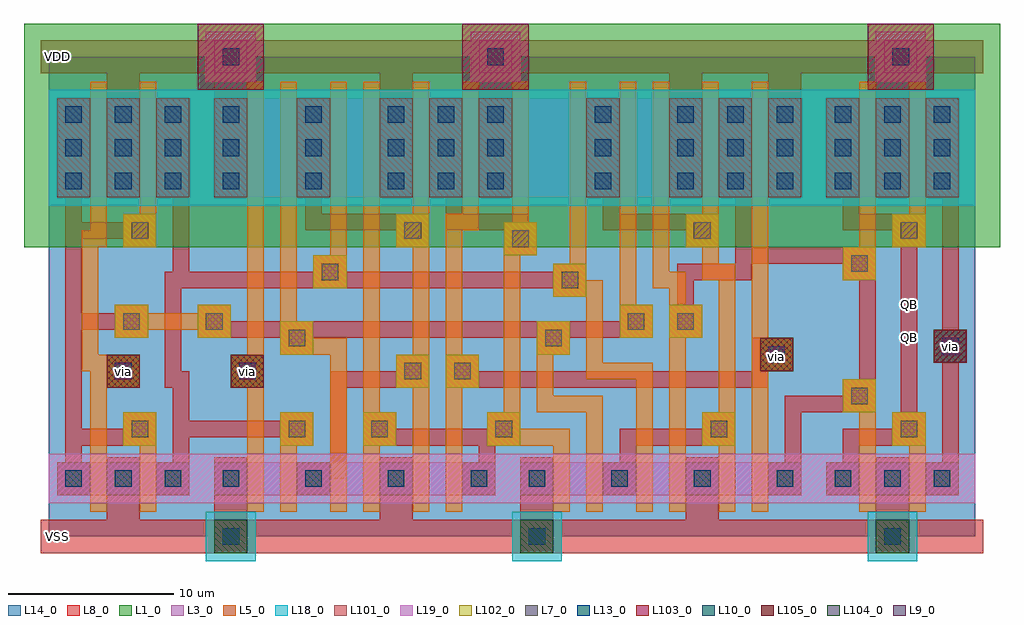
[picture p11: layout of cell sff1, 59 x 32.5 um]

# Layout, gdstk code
import gdstk
lib = gdstk.Library(unit=1e-6, precision=1e-09)
def R(c, l, rs):  # rectangles x0, y0, x1, y1
    for r in rs: c.add(gdstk.rectangle(r[:2], r[2:], *l))
L1_0 = (1, 0)
L3_0 = (3, 0)
L5_0 = (5, 0)
L7_0 = (7, 0)
L8_0 = (8, 0)
L9_0 = (9, 0)
L10_0 = (10, 0)
L13_0 = (13, 0)
L14_0 = (14, 0)
L18_0 = (18, 0)
L19_0 = (19, 0)
L101_0 = (101, 0)
L102_0 = (102, 0)
L103_0 = (103, 0)
L104_0 = (104, 0)
L105_0 = (105, 0)

dcont = lib.new_cell('dcont')
R(dcont, L3_0, [(-1,-1,1,1)])
R(dcont, L7_0, [(-0.5,-0.5,0.5,0.5)])
R(dcont, L8_0, [(-1,-1,1,1)])
R(dcont, L13_0, [(-0.5,-0.5,0.5,0.5)])
R(dcont, L101_0, [(-1,-1,1,1)])
dcont.add(gdstk.Label('dcont', (0,0), layer=13, texttype=0))

pcont = lib.new_cell('pcont')
R(pcont, L5_0, [(-1,-1,1,1)])
R(pcont, L7_0, [(-0.5,-0.5,0.5,0.5)])
R(pcont, L8_0, [(-1,-1,1,1)])
R(pcont, L102_0, [(-1,-1,1,1)])
pcont.add(gdstk.Label('pcont', (0,0), layer=13, texttype=0))

nsubcont = lib.new_cell('nsubcont')
R(nsubcont, L1_0, [(-2,-2,2,2)])
R(nsubcont, L19_0, [(-1.5,-1.5,1.5,1.5)])
R(nsubcont, L103_0, [(-2,-2,2,2)])
nsubcont.add(gdstk.Reference(dcont, (0,0)))
nsubcont.add(gdstk.Label('NScont', (0,0), layer=13, texttype=0))

psubcont = lib.new_cell('psubcont')
R(psubcont, L18_0, [(-1.5,-1.5,1.5,1.5)])
R(psubcont, L104_0, [(-1,-1,1,1)])
psubcont.add(gdstk.Reference(dcont, (0,0)))
psubcont.add(gdstk.Label('PScon', (0,0), layer=13, texttype=0))

via = lib.new_cell('Via')
R(via, L8_0, [(-1,-1,1,1)])
R(via, L9_0, [(-0.5,-0.5,0.5,0.5)])
R(via, L10_0, [(-1,-1,1,1)])
R(via, L13_0, [(-0.5,-0.5,0.5,0.5)])
R(via, L105_0, [(-1,-1,1,1)])
via.add(gdstk.Label('via', (0,0), layer=13, texttype=0))

sff1 = lib.new_cell('sff1')
R(sff1, L1_0, [(-1.5,17.5,57.5,31)])
R(sff1, L3_0, [(0.5,2.5,8.5,4.5), (10,2.5,27,4.5), (28.5,2.5,45.5,4.5), (47,2.5,55,4.5), (0.5,20.5,8.5,26.5), (10,20.5,45.5,26.5), (47,20.5,55,26.5)])
R(sff1, L8_0, [(-0.5,-1,56.5,1), (3.5,9,5.5,11), (11,9,13,11), (43,10,45,12), (53.5,10.5,55.5,12.5), (6.9,20.9,8.1,26.1), (-0.5,28,56.5,30)])
R(sff1, L10_0, [(3.5,9,5.5,11), (11,9,13,11), (43,10,45,12), (53.5,10.5,55.5,12.5)])
R(sff1, L14_0, [(0,0,56,29)])
R(sff1, L18_0, [(0,20,56,27)])
R(sff1, L19_0, [(0,2,56,5)])
R(sff1, L105_0, [(3.5,9,5.5,11), (11,9,13,11), (43,10,45,12), (53.5,10.5,55.5,12.5)])
sff1.add(gdstk.FlexPath([(24.5,19),(24.5,21.5)], 1, ends="extended", simple_path=True, layer=8, datatype=0))  # L8_0
sff1.add(gdstk.FlexPath([(31.8,15.5),(7.8,15.5)], 1, ends="extended", simple_path=True, layer=8, datatype=0))  # L8_0
sff1.add(gdstk.FlexPath([(44,10.8),(44,9.3),(25.3,9.3)], 0, ends="flush", simple_path=True, layer=8, datatype=0))  # L8_0
sff1.add(gdstk.FlexPath([(44,10.8),(44,9.3),(25.3,9.3)], 0, ends="flush", simple_path=True, layer=8, datatype=0))  # L8_0
sff1.add(gdstk.FlexPath([(1.5,26),(1.5,3.6)], 1, ends="extended", simple_path=True, layer=8, datatype=0))  # L8_0
sff1.add(gdstk.FlexPath([(1.5,22.3),(1.5,25.5)], 1.4, ends="extended", simple_path=True, layer=8, datatype=0))  # L8_0
sff1.add(gdstk.FlexPath([(5.4,13),(1.5,13)], 1, ends="extended", simple_path=True, layer=8, datatype=0))  # L8_0
sff1.add(gdstk.FlexPath([(5.8,6),(1.5,6)], 1, ends="extended", simple_path=True, layer=8, datatype=0))  # L8_0
sff1.add(gdstk.FlexPath([(5.6,18.5),(1.5,18.5)], 1, ends="extended", simple_path=True, layer=8, datatype=0))  # L8_0
sff1.add(gdstk.FlexPath([(4.5,22.6),(4.5,28.5)], 2, ends="extended", simple_path=True, layer=8, datatype=0))  # L8_0
sff1.add(gdstk.FlexPath([(4.5,1),(4.5,3.8)], 2, ends="extended", simple_path=True, layer=8, datatype=0))  # L8_0
sff1.add(gdstk.FlexPath([(8,3.6),(8,9.5),(7.5,9.5),(7.5,15.5),(8,15.5),(8,26)], 1, ends="extended", simple_path=True, layer=8, datatype=0))  # L8_0
sff1.add(gdstk.FlexPath([(11,1),(11,3.8)], 2, ends="extended", simple_path=True, layer=8, datatype=0))  # L8_0
sff1.add(gdstk.FlexPath([(11,22.6),(11,28.5)], 2, ends="extended", simple_path=True, layer=8, datatype=0))  # L8_0
sff1.add(gdstk.FlexPath([(14.8,6.5),(8.3,6.5)], 1, ends="extended", simple_path=True, layer=8, datatype=0))  # L8_0
sff1.add(gdstk.FlexPath([(16,22.3),(16,25.5)], 1.4, ends="extended", simple_path=True, layer=8, datatype=0))  # L8_0
sff1.add(gdstk.FlexPath([(16,22.3),(16,19),(22,19)], 1, ends="extended", simple_path=True, layer=8, datatype=0))  # L8_0
sff1.add(gdstk.FlexPath([(16,3.8),(16,4),(17.5,4),(17.5,9.5),(22.1,9.5)], 1, ends="extended", simple_path=True, layer=8, datatype=0))  # L8_0
sff1.add(gdstk.FlexPath([(21,22.6),(21,28.5)], 2, ends="extended", simple_path=True, layer=8, datatype=0))  # L8_0
sff1.add(gdstk.FlexPath([(21,1),(21,3.8)], 2, ends="extended", simple_path=True, layer=8, datatype=0))  # L8_0
sff1.add(gdstk.FlexPath([(35.4,12.5),(10.3,12.5)], 1, ends="extended", simple_path=True, layer=8, datatype=0))  # L8_0
sff1.add(gdstk.FlexPath([(27.3,6),(20.3,6)], 1, ends="extended", simple_path=True, layer=8, datatype=0))  # L8_0
sff1.add(gdstk.FlexPath([(24,21.5),(24,25.5)], 1.4, ends="extended", simple_path=True, layer=8, datatype=0))  # L8_0
sff1.add(gdstk.FlexPath([(24.5,19),(28.5,19),(28.5,18)], 1, ends="extended", simple_path=True, layer=8, datatype=0))  # L8_0
sff1.add(gdstk.FlexPath([(26.5,3.6),(26.5,5.5)], 1, ends="extended", simple_path=True, layer=8, datatype=0))  # L8_0
sff1.add(gdstk.FlexPath([(27,23.8),(27,28.5)], 2, ends="extended", simple_path=True, layer=8, datatype=0))  # L8_0
sff1.add(gdstk.FlexPath([(29.5,1),(29.5,3.8)], 2, ends="extended", simple_path=True, layer=8, datatype=0))  # L8_0
sff1.add(gdstk.FlexPath([(33.5,22.3),(33.5,25.5)], 1.4, ends="extended", simple_path=True, layer=8, datatype=0))  # L8_0
sff1.add(gdstk.FlexPath([(34,22.3),(34,19),(39.5,19)], 1, ends="extended", simple_path=True, layer=8, datatype=0))  # L8_0
sff1.add(gdstk.FlexPath([(38.5,22.6),(38.5,28.5)], 2, ends="extended", simple_path=True, layer=8, datatype=0))  # L8_0
sff1.add(gdstk.FlexPath([(35,3.8),(35,6),(40.3,6)], 1, ends="extended", simple_path=True, layer=8, datatype=0))  # L8_0
sff1.add(gdstk.FlexPath([(39.5,1),(39.5,3.8)], 2, ends="extended", simple_path=True, layer=8, datatype=0))  # L8_0
sff1.add(gdstk.FlexPath([(44.5,22.6),(44.5,28.5)], 2, ends="extended", simple_path=True, layer=8, datatype=0))  # L8_0
sff1.add(gdstk.FlexPath([(45,3.8),(45,8),(49.5,8),(49.5,17),(42.3,17)], 1, ends="extended", simple_path=True, layer=8, datatype=0))  # L8_0
sff1.add(gdstk.FlexPath([(48,22.3),(48,25.5)], 1.4, ends="extended", simple_path=True, layer=8, datatype=0))  # L8_0
sff1.add(gdstk.FlexPath([(48.5,26),(48.5,19),(52,19),(52,6),(48.5,6),(48.5,3.6)], 1, ends="extended", simple_path=True, layer=8, datatype=0))  # L8_0
sff1.add(gdstk.FlexPath([(51,1),(51,3.8)], 2, ends="extended", simple_path=True, layer=8, datatype=0))  # L8_0
sff1.add(gdstk.FlexPath([(51,22.6),(51,28.5)], 2, ends="extended", simple_path=True, layer=8, datatype=0))  # L8_0
sff1.add(gdstk.FlexPath([(54,22.3),(54,25.5)], 1.4, ends="extended", simple_path=True, layer=8, datatype=0))  # L8_0
sff1.add(gdstk.FlexPath([(54.5,3.3),(54.5,26)], 1, ends="extended", simple_path=True, layer=8, datatype=0))  # L8_0
sff1.add(gdstk.FlexPath([(44,10.8),(44,9.3),(25.3,9.3)], 0, ends="flush", simple_path=True, layer=8, datatype=0))  # L8_0
sff1.add(gdstk.FlexPath([(25.5,9.5),(43,9.5),(43,11.5),(43.8,11.5)], 1, ends="extended", simple_path=True, layer=8, datatype=0))  # L8_0
sff1.add(gdstk.FlexPath([(42,21.8),(42,16),(38.5,16),(38.5,12.8),(38.3,12.8)], 1, ends="extended", simple_path=True, layer=8, datatype=0))  # L8_0
sff1.add(gdstk.FlexPath([(28.5,27),(28.5,17.9)], 1, ends="extended", simple_path=True, layer=5, datatype=0))  # L5_0
sff1.add(gdstk.FlexPath([(27.8,6.1),(27.7,6.1)], 1, ends="extended", simple_path=True, layer=5, datatype=0))  # L5_0
sff1.add(gdstk.FlexPath([(3,27),(3,18),(2.5,18),(2.5,10.5),(3,10.5),(3,2)], 1, ends="extended", simple_path=True, layer=5, datatype=0))  # L5_0
sff1.add(gdstk.FlexPath([(6,2),(6,7)], 1, ends="extended", simple_path=True, layer=5, datatype=0))  # L5_0
sff1.add(gdstk.FlexPath([(6,18.3),(6,27)], 1, ends="extended", simple_path=True, layer=5, datatype=0))  # L5_0
sff1.add(gdstk.FlexPath([(10,13),(5.1,13)], 1, ends="extended", simple_path=True, layer=5, datatype=0))  # L5_0
sff1.add(gdstk.FlexPath([(12.5,27),(12.5,2)], 1, ends="extended", simple_path=True, layer=5, datatype=0))  # L5_0
sff1.add(gdstk.FlexPath([(14.5,2),(14.5,6.8)], 1, ends="extended", simple_path=True, layer=5, datatype=0))  # L5_0
sff1.add(gdstk.FlexPath([(17.5,2),(17.5,11.5),(14.5,11.5),(14.5,27)], 1, ends="extended", simple_path=True, layer=5, datatype=0))  # L5_0
sff1.add(gdstk.FlexPath([(17.5,15.8),(17.5,27)], 1, ends="extended", simple_path=True, layer=5, datatype=0))  # L5_0
sff1.add(gdstk.FlexPath([(19.5,27),(19.5,2)], 1, ends="extended", simple_path=True, layer=5, datatype=0))  # L5_0
sff1.add(gdstk.FlexPath([(22.5,18.7),(22.5,10)], 1, ends="extended", simple_path=True, layer=5, datatype=0))  # L5_0
sff1.add(gdstk.FlexPath([(22.5,2),(22.5,10)], 1, ends="extended", simple_path=True, layer=5, datatype=0))  # L5_0
sff1.add(gdstk.FlexPath([(22.5,18.4),(22.5,27)], 1, ends="extended", simple_path=True, layer=5, datatype=0))  # L5_0
sff1.add(gdstk.FlexPath([(24.5,2),(24.5,19),(25.5,19),(25.5,27)], 1, ends="extended", simple_path=True, layer=5, datatype=0))  # L5_0
sff1.add(gdstk.FlexPath([(28,18.2),(28,6.1)], 1, ends="extended", simple_path=True, layer=5, datatype=0))  # L5_0
sff1.add(gdstk.FlexPath([(31,2),(31,6),(27.3,6)], 1, ends="extended", simple_path=True, layer=5, datatype=0))  # L5_0
sff1.add(gdstk.FlexPath([(33,2),(33,8),(30,8),(30,12)], 1, ends="extended", simple_path=True, layer=5, datatype=0))  # L5_0
sff1.add(gdstk.FlexPath([(36,2),(36,10),(33,10),(33,15),(32,15),(32,27)], 1, ends="extended", simple_path=True, layer=5, datatype=0))  # L5_0
sff1.add(gdstk.FlexPath([(35,27),(35,13.7)], 1, ends="extended", simple_path=True, layer=5, datatype=0))  # L5_0
sff1.add(gdstk.FlexPath([(38,2),(38,15.5),(37,15.5),(37,27)], 1, ends="extended", simple_path=True, layer=5, datatype=0))  # L5_0
sff1.add(gdstk.FlexPath([(41,6.5),(41,16),(40,16),(40,27)], 1, ends="extended", simple_path=True, layer=5, datatype=0))  # L5_0
sff1.add(gdstk.FlexPath([(41,6.8),(41,2)], 1, ends="extended", simple_path=True, layer=5, datatype=0))  # L5_0
sff1.add(gdstk.FlexPath([(43,2),(43,27)], 1, ends="extended", simple_path=True, layer=5, datatype=0))  # L5_0
sff1.add(gdstk.FlexPath([(49.5,2),(49.5,8.9)], 1, ends="extended", simple_path=True, layer=5, datatype=0))  # L5_0
sff1.add(gdstk.FlexPath([(49.5,17),(49.5,27)], 1, ends="extended", simple_path=True, layer=5, datatype=0))  # L5_0
sff1.add(gdstk.FlexPath([(52.5,2),(52.5,6.7)], 1, ends="extended", simple_path=True, layer=5, datatype=0))  # L5_0
sff1.add(gdstk.FlexPath([(52.5,18.3),(52.5,27)], 1, ends="extended", simple_path=True, layer=5, datatype=0))  # L5_0
sff1.add(gdstk.Reference(dcont, (27,21.5)))
sff1.add(gdstk.Reference(pcont, (22,10)))
sff1.add(gdstk.Reference(dcont, (1.5,25.5)))
sff1.add(gdstk.Reference(dcont, (33.5,21.5)))
sff1.add(gdstk.Reference(dcont, (27,23.5)))
sff1.add(gdstk.Reference(dcont, (11,23.5)))
sff1.add(gdstk.Reference(dcont, (48,21.5)))
sff1.add(gdstk.Reference(pcont, (22,18.5)))
sff1.add(gdstk.Reference(dcont, (21,3.5)))
sff1.add(gdstk.Reference(dcont, (38.5,23.5)))
sff1.add(gdstk.Reference(dcont, (1.5,21.5)))
sff1.add(gdstk.Reference(pcont, (52,18.5)))
sff1.add(gdstk.Reference(dcont, (33.5,23.5)))
sff1.add(gdstk.Reference(nsubcont, (11,29)))
sff1.add(gdstk.Reference(dcont, (24,21.5)))
sff1.add(gdstk.Reference(pcont, (17,16)))
sff1.add(gdstk.Reference(psubcont, (51,0)))
sff1.add(gdstk.Reference(pcont, (40.5,6.5)))
sff1.add(gdstk.Reference(pcont, (10,13)))
sff1.add(gdstk.Reference(psubcont, (29.5,0)))
sff1.add(gdstk.Reference(pcont, (30.5,12)))
sff1.add(gdstk.Reference(pcont, (27.5,6.5)))
sff1.add(gdstk.Reference(dcont, (11,25.5)))
sff1.add(gdstk.Reference(pcont, (49,16.5)))
sff1.add(gdstk.Reference(pcont, (44,11)))
sff1.add(gdstk.Reference(via, (4.5,10)))
sff1.add(gdstk.Reference(dcont, (39.5,3.5)))
sff1.add(gdstk.Reference(pcont, (28.5,18)))
sff1.add(gdstk.Reference(dcont, (33.5,25.5)))
sff1.add(gdstk.Reference(dcont, (4.5,21.5)))
sff1.add(gdstk.Reference(dcont, (21,23.5)))
sff1.add(gdstk.Reference(dcont, (54,25.5)))
sff1.add(gdstk.Reference(dcont, (24,23.5)))
sff1.add(gdstk.Reference(dcont, (44.5,21.5)))
sff1.add(gdstk.Reference(dcont, (54,23.5)))
sff1.add(gdstk.Reference(dcont, (4.5,23.5)))
sff1.add(gdstk.Reference(dcont, (21,21.5)))
sff1.add(gdstk.Reference(dcont, (11,3.5)))
sff1.add(gdstk.Reference(dcont, (51,21.5)))
sff1.add(gdstk.Reference(dcont, (27,25.5)))
sff1.add(gdstk.Reference(dcont, (54,21.5)))
sff1.add(gdstk.Reference(via, (54.5,11.5)))
sff1.add(gdstk.Reference(psubcont, (11,0)))
sff1.add(gdstk.Reference(dcont, (7.5,21.5)))
sff1.add(gdstk.Reference(pcont, (52,6.5)))
sff1.add(gdstk.Reference(dcont, (48,3.5)))
sff1.add(gdstk.Reference(dcont, (44.5,23.5)))
sff1.add(gdstk.Reference(pcont, (15,12)))
sff1.add(gdstk.Reference(dcont, (7.5,25.5)))
sff1.add(gdstk.Reference(pcont, (12,10)))
sff1.add(gdstk.Reference(nsubcont, (27,29)))
sff1.add(gdstk.Reference(pcont, (25,10)))
sff1.add(gdstk.Reference(nsubcont, (51.5,29)))
sff1.add(gdstk.Reference(pcont, (31.5,15.5)))
sff1.add(gdstk.Reference(dcont, (11,21.5)))
sff1.add(gdstk.Reference(pcont, (4.5,10)))
sff1.add(gdstk.Reference(dcont, (44.5,25.5)))
sff1.add(gdstk.Reference(dcont, (16,25.5)))
sff1.add(gdstk.Reference(dcont, (4.5,25.5)))
sff1.add(gdstk.Reference(via, (12,10)))
sff1.add(gdstk.Reference(dcont, (38.5,21.5)))
sff1.add(gdstk.Reference(pcont, (15,6.5)))
sff1.add(gdstk.Reference(dcont, (51,23.5)))
sff1.add(gdstk.Reference(dcont, (34.5,3.5)))
sff1.add(gdstk.Reference(dcont, (48,23.5)))
sff1.add(gdstk.Reference(dcont, (51,25.5)))
sff1.add(gdstk.Reference(dcont, (29.5,3.5)))
sff1.add(gdstk.Reference(dcont, (38.5,25.5)))
sff1.add(gdstk.Reference(dcont, (54,3.5)))
sff1.add(gdstk.Reference(pcont, (20,6.5)))
sff1.add(gdstk.Reference(pcont, (35.5,13)))
sff1.add(gdstk.Reference(pcont, (5.5,6.5)))
sff1.add(gdstk.Reference(dcont, (7.5,23.5)))
sff1.add(gdstk.Reference(pcont, (49,8.5)))
sff1.add(gdstk.Reference(dcont, (51,3.5)))
sff1.add(gdstk.Reference(via, (44,11)))
sff1.add(gdstk.Reference(dcont, (16,23.5)))
sff1.add(gdstk.Reference(dcont, (44.5,3.5)))
sff1.add(gdstk.Reference(dcont, (4.5,3.5)))
sff1.add(gdstk.Reference(pcont, (5,13)))
sff1.add(gdstk.Reference(dcont, (1.5,3.5)))
sff1.add(gdstk.Reference(dcont, (24,25.5)))
sff1.add(gdstk.Reference(pcont, (38.5,13)))
sff1.add(gdstk.Reference(dcont, (7.5,3.5)))
sff1.add(gdstk.Reference(dcont, (16,3.5)))
sff1.add(gdstk.Reference(dcont, (16,21.5)))
sff1.add(gdstk.Reference(dcont, (41.5,21.5)))
sff1.add(gdstk.Reference(dcont, (48,25.5)))
sff1.add(gdstk.Reference(dcont, (41.5,25.5)))
sff1.add(gdstk.Reference(dcont, (1.5,23.5)))
sff1.add(gdstk.Reference(pcont, (5.5,18.5)))
sff1.add(gdstk.Reference(dcont, (21,25.5)))
sff1.add(gdstk.Reference(dcont, (26,3.5)))
sff1.add(gdstk.Reference(dcont, (41.5,23.5)))
sff1.add(gdstk.Reference(pcont, (39.5,18.5)))
sff1.add(gdstk.Label('VDD', (0.5,29), layer=8, texttype=0))
sff1.add(gdstk.Label('VSS', (0.5,0), layer=8, texttype=0))
sff1.add(gdstk.Label('QB', (52,12), layer=8, texttype=0))
sff1.add(gdstk.Label('QB', (52,14), layer=8, texttype=0))
sff1.add(gdstk.Label('via', (54.5,11.5), layer=13, texttype=0))
sff1.add(gdstk.Label('via', (44,10.9), layer=13, texttype=0))
sff1.add(gdstk.Label('via', (12,10), layer=13, texttype=0))
sff1.add(gdstk.Label('via', (4.5,10), layer=13, texttype=0))
sff1.add(gdstk.Label('CK', (4.5,10), layer=10, texttype=0))
sff1.add(gdstk.Label('D', (12,10), layer=10, texttype=0))
sff1.add(gdstk.Label('S', (44,11), layer=10, texttype=0))
sff1.add(gdstk.Label('Q', (54.5,11.5), layer=10, texttype=0))

lib.write_gds('sff1.gds')
